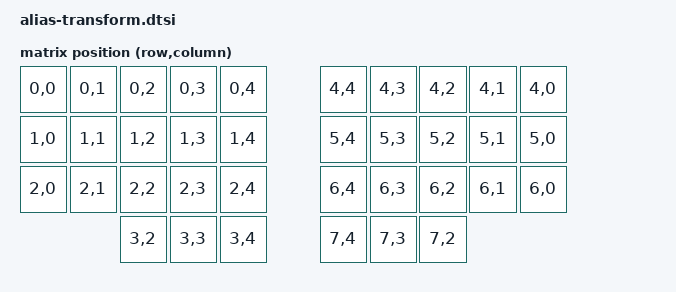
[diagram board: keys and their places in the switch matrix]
#include <dt-bindings/zmk/matrix_transform.h>

/ {
    default_transform: keymap_transform_0 {
        compatible = "zmk,matrix-transform";
        rows = <8>;
        columns = <5>;
        // Logical positions: three rows of ten, then three thumbs per side.
        // Right-hand columns are mirrored in physical left-to-right order.
        map = <
            RC(0,0) RC(0,1) RC(0,2) RC(0,3) RC(0,4)    RC(4,4) RC(4,3) RC(4,2) RC(4,1) RC(4,0)
            RC(1,0) RC(1,1) RC(1,2) RC(1,3) RC(1,4)    RC(5,4) RC(5,3) RC(5,2) RC(5,1) RC(5,0)
            RC(2,0) RC(2,1) RC(2,2) RC(2,3) RC(2,4)    RC(6,4) RC(6,3) RC(6,2) RC(6,1) RC(6,0)
                            RC(3,2) RC(3,3) RC(3,4)    RC(7,4) RC(7,3) RC(7,2)
        >;
    };
};
